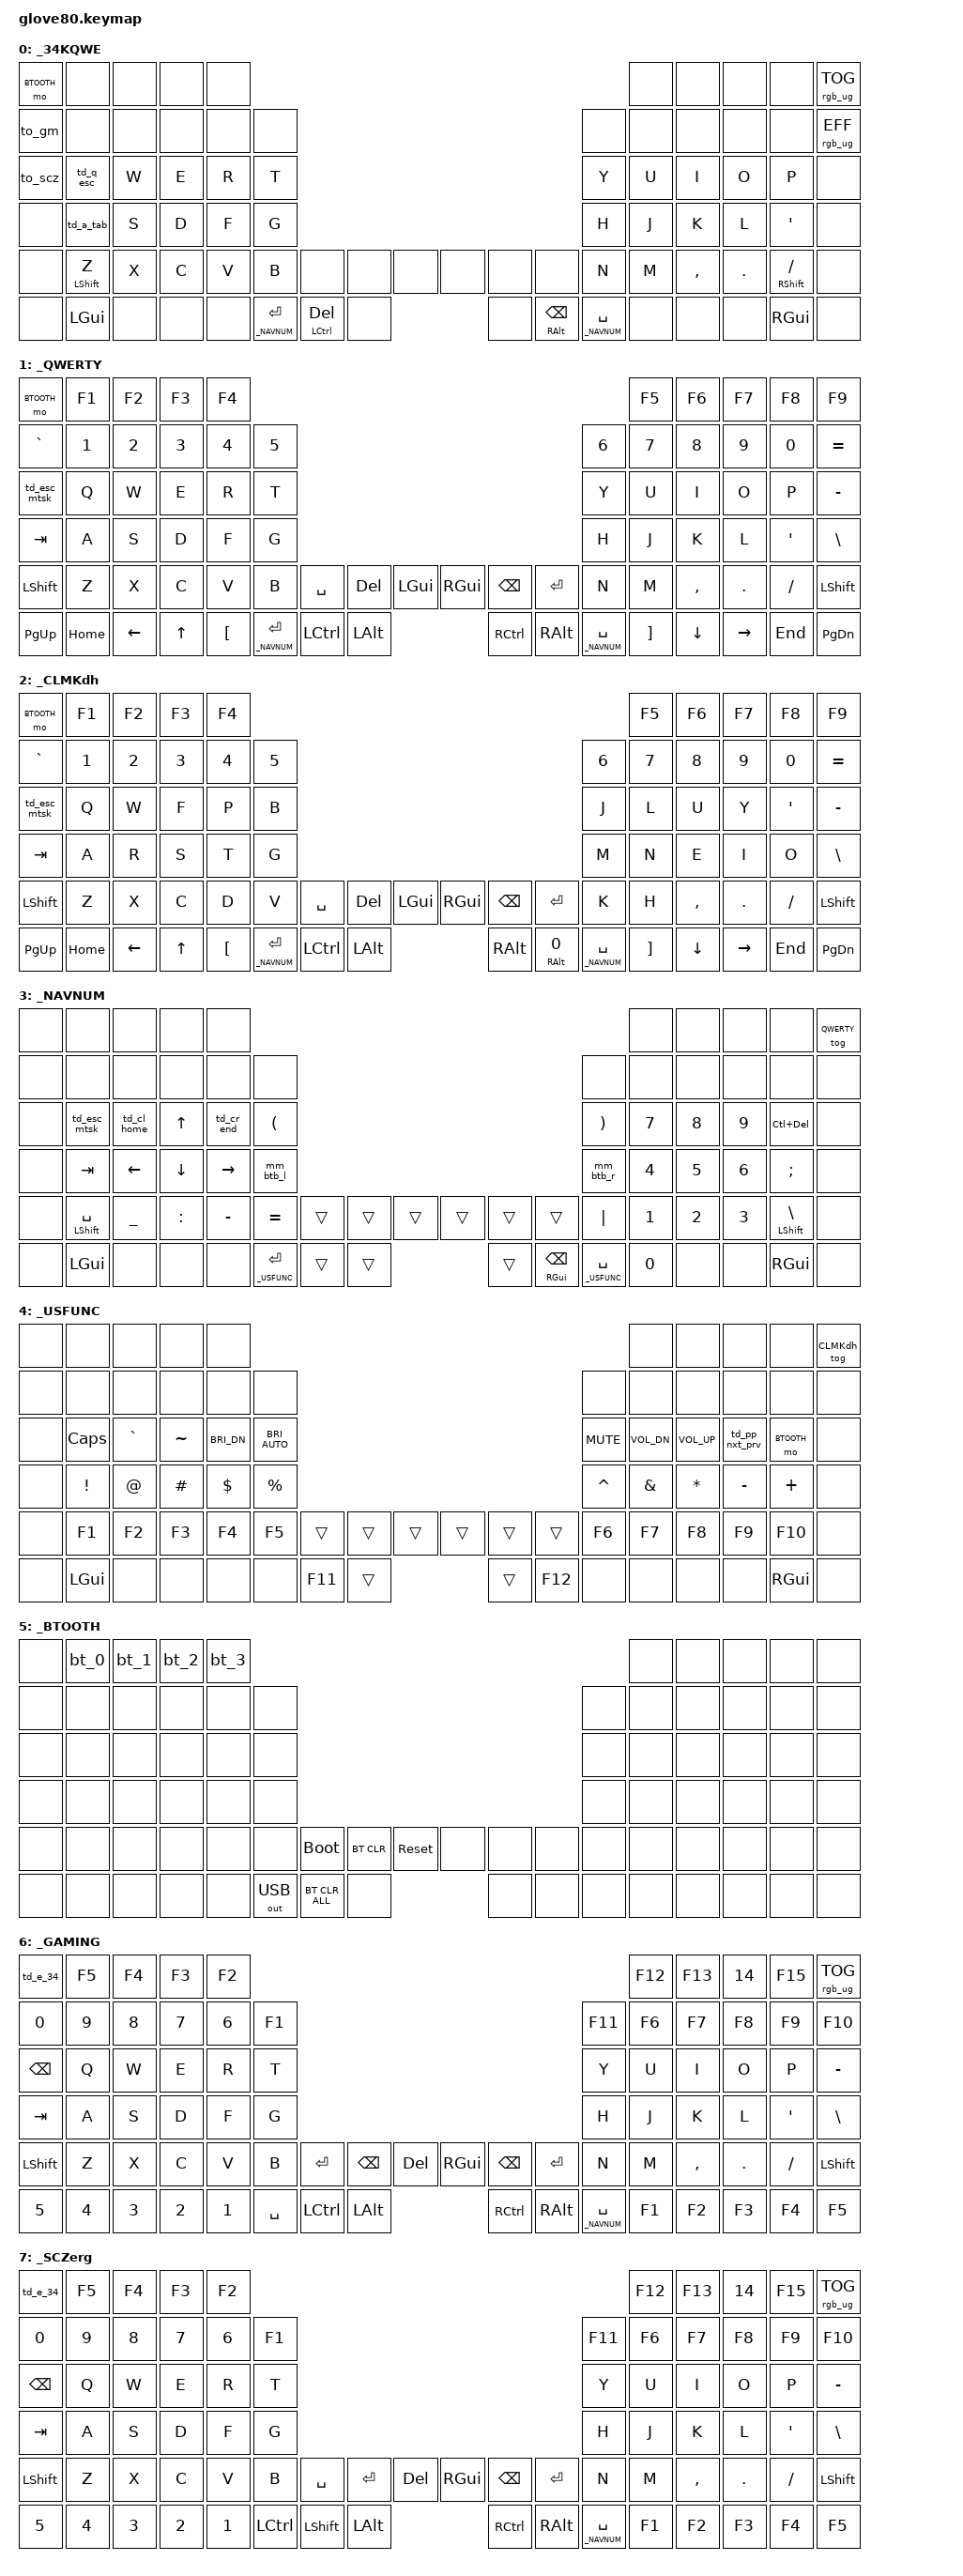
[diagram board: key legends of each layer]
/*
 * Copyright (c) 2020 The ZMK Contributors
 *
 * SPDX-License-Identifier: MIT
 */

#include <behaviors.dtsi>
#include <dt-bindings/zmk/keys.h>
#include <dt-bindings/zmk/bt.h>
#include <dt-bindings/zmk/ext_power.h>
#include <dt-bindings/zmk/outputs.h>
#include <dt-bindings/zmk/rgb.h>

#define _34KQWE 0
#define _QWERTY 1
#define _CLMKdh 2
#define _NAVNUM 3
#define _USFUNC 4
#define _BTOOTH 5
#define _GAMING 6
#define _SCZerg 7

/ {
    behaviors {
        td_cl_home: td_ctrl_left_home {
              compatible = "zmk,behavior-tap-dance";
              label = "TD_CTRL_LEFT_HOME";
              #binding-cells = <0>;
              tapping-term-ms = <200>;
              bindings = <&kp LC(LEFT)>, <&kp HOME>;
        };


        td_cr_end: td_ctrl_right_end {
              compatible = "zmk,behavior-tap-dance";
              label = "TD_CTRL_RIGHT_END";
              #binding-cells = <0>;
              tapping-term-ms = <200>;
              bindings = <&kp LC(RIGHT)>, <&kp END>;
        };
       
        td_esc_mtsk: td_esc_multitasker {
            compatible = "zmk,behavior-tap-dance";
            label = "TD_ESC_MULTITASKER";
            #binding-cells = <0>;
            tapping-term-ms = <200>;
            bindings = <&kp ESC>, <&kp LC(LA(TAB))>;
        };

        td_q_esc: td_q_esc {
            compatible = "zmk,behavior-tap-dance";
            label = "TD_Q_ESC";
            #binding-cells = <0>;
            tapping-term-ms = <200>;
            bindings = <&kp Q>, <&kp ESC>;
        };

        td_a_tab: td_a_tab {
            compatible = "zmk,behavior-tap-dance";
            label = "TD_A_TAB";
            #binding-cells = <0>;
            tapping-term-ms = <200>;
            bindings = <&kp A>, <&kp TAB>;
        };       

        td_pp_nxt_prv: td_play_pause_next_prev {
             compatible = "zmk,behavior-tap-dance";
             label = "TD_PLAY_PAUSE_NEXT_PREV";
             #binding-cells = <0>;
             tapping-term-ms = <200>;
             bindings = <&kp C_PP>, <&kp C_NEXT>, <&kp C_PREV>;
        };

        mm_btb_l: mm_brace_to_bracket_left {        
            compatible = "zmk,behavior-mod-morph";
            label = "MM_BRACE_TO_BRACKET_LEFT";
            #binding-cells = <0>;
            bindings = <&kp LBRC>, <&kp LBKT>;
            mods = <(MOD_LSFT|MOD_RSFT)>;
        };

        mm_btb_r: mm_brace_to_bracket_right {        
            compatible = "zmk,behavior-mod-morph";
            label = "MM_BRACE_TO_BRACKET_RIGHT";
            #binding-cells = <0>;
            bindings = <&kp RBRC>, <&kp RBKT>;
            mods = <(MOD_LSFT|MOD_RSFT)>; 
        };

        td_e_34: td_esc_to_34 {
            compatible = "zmk,behavior-tap-dance";
            label = "TD_ESC_TO_34";
            #binding-cells = <0>;
            tapping-term-ms = <200>;
            bindings = <&kp ESC>, <&to_34>;
        };       
    };

    macros {
        rgb_ug_status_macro: rgb_ug_status_macro_0 {
            label = "RGB_UG_STATUS";
            compatible = "zmk,behavior-macro";
            #binding-cells = <0>;
            bindings
                = <&rgb_ug RGB_STATUS>;
        };

        bt_0: bt_profile_macro_0 {
            label = "BT_0";
            compatible = "zmk,behavior-macro";
            #binding-cells = <0>;
            bindings
                = <&out OUT_BLE>,
                  <&bt BT_SEL 0>;
        };

        bt_1: bt_profile_macro_1 {
            label = "BT_1";
            compatible = "zmk,behavior-macro";
            #binding-cells = <0>;
            bindings
                = <&out OUT_BLE>,
                  <&bt BT_SEL 1>;
        };

        bt_2: bt_profile_macro_2 {
            label = "BT_2";
            compatible = "zmk,behavior-macro";
            #binding-cells = <0>;
            bindings
                = <&out OUT_BLE>,
                  <&bt BT_SEL 2>;
        };

        bt_3: bt_profile_macro_3 {
            label = "BT_3";
            compatible = "zmk,behavior-macro";
            #binding-cells = <0>;
            bindings
                = <&out OUT_BLE>,
                  <&bt BT_SEL 3>;
        };
        
        to_34: to_34kqwe {
            compatible = "zmk,behavior-macro";
            label = "TO_34KQWE";
            #binding-cells = <0>;
            wait-ms = <100>;
            tap-ms = <5>;
            bindings = <&to _34KQWE &rgb_ug RGB_TOG &rgb_ug RGB_TOG>;
        };      

        to_gm: to_gaming {
            compatible = "zmk,behavior-macro";
            label = "TO_GAMING";
            #binding-cells = <0>;
            wait-ms = <100>;
            tap-ms = <5>;
            bindings = <&to _GAMING &rgb_ug RGB_TOG &rgb_ug RGB_TOG &rgb_ug RGB_TOG &rgb_ug RGB_TOG>;
        }; 

        to_scz: to_sczerg {
            compatible = "zmk,behavior-macro";
            label = "TO_SCZERG";
            #binding-cells = <0>;
            wait-ms = <100>;
            tap-ms = <5>;
            bindings = <&to _SCZerg &rgb_ug RGB_TOG &rgb_ug RGB_TOG &rgb_ug RGB_TOG &rgb_ug RGB_TOG &rgb_ug RGB_TOG &rgb_ug RGB_TOG>;
        }; 
        
              
    };

    keymap {
        compatible = "zmk,keymap";
      
        _34KQWE {
            bindings = <
            &mo _BTOOTH  &none        &none  &none  &none                                                                                                   &none     &none      &none      &none            &rgb_ug RGB_TOG
            &to_gm       &none        &none  &none  &none  &none                                                                                    &none   &none     &none      &none      &none            &rgb_ug RGB_EFF
            &to_scz      &td_q_esc    &kp W  &kp E  &kp R  &kp T                                                                                    &kp Y   &kp U     &kp I      &kp O      &kp P            &none
            &none        &td_a_tab    &kp S  &kp D  &kp F  &kp G                                                                                    &kp H   &kp J     &kp K      &kp L      &kp SQT          &none
            &none        &mt LSHFT Z  &kp X  &kp C  &kp V  &kp B  &none              &none          &none  &none  &none          &none              &kp N   &kp M     &kp COMMA  &kp DOT    &mt RSHFT SLASH  &none
            &none        &kp LGUI     &none  &none  &none         &lt _NAVNUM ENTER  &mt LCTRL DEL  &none  &none  &mt RALT BSPC  &lt _NAVNUM SPACE          &none      &none     &none      &kp RGUI         &none
            >;
        };

        _QWERTY {
            bindings = <
            &mo _BTOOTH   &kp F1    &kp F2    &kp F3  &kp F4                                                                                                     &kp F5    &kp F6     &kp F7     &kp F8    &kp F9
            &kp GRAVE     &kp N1    &kp N2    &kp N3  &kp N4    &kp N5                                                                                   &kp N6  &kp N7    &kp N8     &kp N9     &kp N0    &kp EQUAL
            &td_esc_mtsk  &kp Q     &kp W     &kp E   &kp R     &kp T                                                                                    &kp Y   &kp U     &kp I      &kp O      &kp P     &kp MINUS
            &kp TAB       &kp A     &kp S     &kp D   &kp F     &kp G                                                                                    &kp H   &kp J     &kp K      &kp L      &kp SQT   &kp BSLH
            &kp LSHFT     &kp Z     &kp X     &kp C   &kp V     &kp B  &kp SPACE          &kp DEL    &kp LGUI   &kp RGUI   &kp BSPC   &kp ENTER          &kp N   &kp M     &kp COMMA  &kp DOT    &kp FSLH  &kp LSHFT
            &kp PAGE_UP   &kp HOME  &kp LEFT  &kp UP  &kp LBKT         &lt _NAVNUM ENTER  &kp LCTRL  &kp LALT   &kp RCTRL  &kp RALT   &lt _NAVNUM SPACE          &kp RBKT  &kp DOWN   &kp RIGHT  &kp END   &kp PG_DN
            >;
        };

        _CLMKdh {
            bindings = <    
            &mo _BTOOTH   &kp F1    &kp F2    &kp F3  &kp F4                                                                                                      &kp F5    &kp F6     &kp F7     &kp F8    &kp F9
            &kp GRAVE     &kp N1    &kp N2    &kp N3  &kp N4    &kp N5                                                                                    &kp N6  &kp N7    &kp N8     &kp N9     &kp N0    &kp EQUAL
            &td_esc_mtsk  &kp Q     &kp W     &kp F   &kp P     &kp B                                                                                     &kp J   &kp L     &kp U      &kp Y      &kp SQT   &kp MINUS
            &kp TAB       &kp A     &kp R     &kp S   &kp T     &kp G                                                                                     &kp M   &kp N     &kp E      &kp I      &kp O     &kp BSLH
            &kp LSHFT     &kp Z     &kp X     &kp C   &kp D     &kp V  &kp SPACE          &kp DEL    &kp LGUI   &kp RGUI  &kp BSPC     &kp ENTER          &kp K   &kp H     &kp COMMA  &kp DOT    &kp FSLH  &kp LSHFT
            &kp PAGE_UP   &kp HOME  &kp LEFT  &kp UP  &kp LBKT         &lt _NAVNUM ENTER  &kp LCTRL  &kp LALT   &kp RALT  &mt RALT N0  &lt _NAVNUM SPACE          &kp RBKT  &kp DOWN   &kp RIGHT  &kp END   &kp PG_DN
            >;
        };

        _NAVNUM {
            bindings = <
            &none  &none            &none        &none      &none                                                                                                          &none   &none   &none   &none            &tog _QWERTY
            &none  &none            &none        &none      &none       &none                                                                                   &none      &none   &none   &none   &none            &none
            &none  &td_esc_mtsk     &td_cl_home  &kp UP     &td_cr_end  &kp LPAR                                                                                &kp RPAR   &kp N7  &kp N8  &kp N9  &kp LC(DEL)      &none
            &none  &kp TAB          &kp LEFT     &kp DOWN   &kp RIGHT   &mm_btb_l                                                                               &mm_btb_r  &kp N4  &kp N5  &kp N6  &kp SEMI         &none
            &none  &mt LSHFT SPACE  &kp UNDER    &kp COLON  &kp MINUS   &kp EQUAL  &trans             &trans  &trans  &trans  &trans         &trans             &kp PIPE   &kp N1  &kp N2  &kp N3  &mt LSHIFT BSLH  &none
            &none  &kp LGUI         &none        &none      &none                  &lt _USFUNC ENTER  &trans  &trans  &trans  &mt RGUI BSPC  &lt _USFUNC SPACE             &kp N0  &none   &none   &kp RGUI         &none
                >; 
        };

        _USFUNC {
            bindings = <
            &none  &none     &none      &none      &none                                                                                       &none         &none         &none           &none        &tog _CLMKdh
            &none  &none     &none      &none      &none         &none                                                             &none       &none         &none         &none           &none        &none
            &none  &kp CAPS  &kp GRAVE  &kp TILDE  &kp C_BRI_DN  &kp C_BRI_AUTO                                                    &kp C_MUTE  &kp C_VOL_DN  &kp C_VOL_UP  &td_pp_nxt_prv  &mo _BTOOTH  &none
            &none  &kp EXCL  &kp AT     &kp HASH   &kp DLLR      &kp PRCNT                                                         &kp CARET   &kp AMPS      &kp ASTRK     &kp MINUS       &kp PLUS     &none
            &none  &kp F1    &kp F2     &kp F3     &kp F4        &kp F5          &trans  &trans   &trans  &trans  &trans   &trans  &kp F6      &kp F7        &kp F8        &kp F9          &kp F10      &none
            &none  &kp LGUI  &none      &none      &none                         &none   &kp F11  &trans  &trans  &kp F12  &none               &none         &none         &none           &kp RGUI     &none
            >;
        };  

        _BTOOTH {
            bindings = <        
            &none  &bt_0  &bt_1  &bt_2  &bt_3                                                                               &none  &none  &none  &none  &none       
            &none  &none  &none  &none  &none  &none                                                                 &none  &none  &none  &none  &none  &none
            &none  &none  &none  &none  &none  &none                                                                 &none  &none  &none  &none  &none  &none
            &none  &none  &none  &none  &none  &none                                                                 &none  &none  &none  &none  &none  &none
            &none  &none  &none  &none  &none  &none  &bootloader   &bt BT_CLR      &sys_reset  &none  &none  &none  &none  &none  &none  &none  &none  &none
            &none  &none  &none  &none  &none         &out OUT_USB  &bt BT_CLR_ALL  &none       &none  &none  &none         &none  &none  &none  &none  &none       
            >;
        };


        _GAMING {
            bindings = <
            &td_e_34   &kp F5   &kp F4    &kp F3  &kp F2                                                                                            &kp F12  &kp F13   &kp 14   &kp F15   &rgb_ug RGB_TOG  
            &kp N0     &kp N9   &kp N8    &kp N7  &kp N6  &kp F1                                                                           &kp F11  &kp F6  &kp F7     &kp F8   &kp F9    &kp F10    
            &kp BSPC   &kp Q    &kp W     &kp E   &kp R   &kp T                                                                            &kp Y    &kp U   &kp I      &kp O    &kp P     &kp MINUS
            &kp TAB    &kp A    &kp S     &kp D   &kp F   &kp G                                                                            &kp H    &kp J   &kp K      &kp L    &kp SQT   &kp BSLH
            &kp LSHFT  &kp Z    &kp X     &kp C   &kp V   &kp B   &kp ENTER  &kp BSPC   &kp DEL   &kp RGUI   &kp BSPC   &kp ENTER          &kp N    &kp M   &kp COMMA  &kp DOT  &kp FSLH  &kp LSHFT
            &kp N5     &kp N4   &kp N3    &kp N2  &kp N1          &kp SPACE  &kp LCTRL  &kp LALT  &kp RCTRL  &kp RALT   &lt _NAVNUM SPACE           &kp F1  &kp F2     &kp F3   &kp F4    &kp F5
            >;
        };

        _SCZerg {
            bindings = <
            &td_e_34   &kp F5   &kp F4    &kp F3  &kp F2                                                                                            &kp F12  &kp F13   &kp 14   &kp F15   &rgb_ug RGB_TOG  
            &kp N0     &kp N9   &kp N8    &kp N7  &kp N6  &kp F1                                                                           &kp F11  &kp F6  &kp F7     &kp F8   &kp F9    &kp F10    
            &kp BSPC   &kp Q    &kp W     &kp E   &kp R   &kp T                                                                            &kp Y    &kp U   &kp I      &kp O    &kp P     &kp MINUS
            &kp TAB    &kp A    &kp S     &kp D   &kp F   &kp G                                                                            &kp H    &kp J   &kp K      &kp L    &kp SQT   &kp BSLH
            &kp LSHFT  &kp Z    &kp X     &kp C   &kp V   &kp B   &kp SPACE  &kp ENTER  &kp DEL   &kp RGUI   &kp BSPC   &kp ENTER          &kp N    &kp M   &kp COMMA  &kp DOT  &kp FSLH  &kp LSHFT
            &kp N5     &kp N4   &kp N3    &kp N2  &kp N1          &kp LCTRL  &kp LSHFT  &kp LALT  &kp RCTRL  &kp RALT   &lt _NAVNUM SPACE           &kp F1  &kp F2     &kp F3   &kp F4    &kp F5
            >;
        };
/*
        _trans {
            bindings = <
            &trans  &trans  &tran   &trans  &trans                                                                  &trans  &trans  &trans  &trans  &trans
            &trans  &trans  &trans  &trans  &trans  &trans                                                  &trans  &trans  &trans  &trans  &trans  &trans
            &trans  &trans  &trans  &trans  &trans  &trans                                                  &trans  &trans  &trans  &trans  &trans  &trans
            &trans  &trans  &trans  &trans  &trans  &trans                                                  &trans  &trans  &trans  &trans  &trans  &trans
            &trans  &trans  &trans  &trans  &trans  &trans  &trans  &trans  &trans  &trans  &trans  &trans  &trans  &trans  &trans  &trans  &trans  &trans
            &trans  &trans  &trans  &trans  &trans          &trans  &trans  &trans  &trans  &trans  &trans          &trans  &trans  &trans  &trans  &trans
            >;
        };
*/                
    };
};
